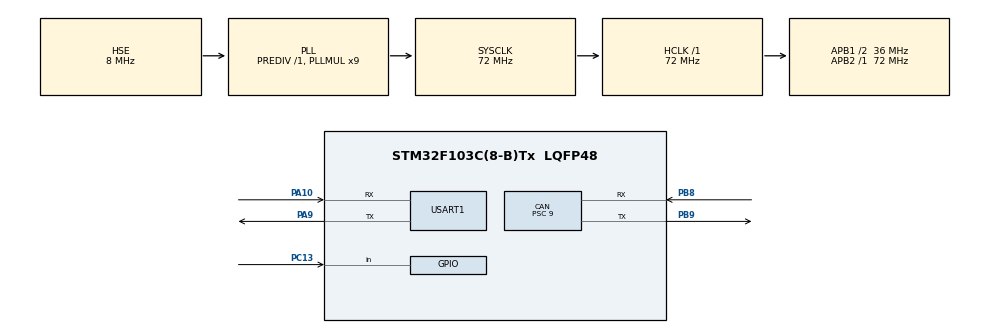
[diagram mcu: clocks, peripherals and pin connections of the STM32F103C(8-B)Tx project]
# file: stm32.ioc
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CAN.ABOM=ENABLE
CAN.AWUM=ENABLE
CAN.BS1=CAN_BS1_6TQ
CAN.CalculateBaudRate=500000
CAN.CalculateTimeBit=2000
CAN.CalculateTimeQuantum=250.0
CAN.NART=DISABLE
CAN.Prescaler=9
CAN.RFLM=ENABLE
CAN.SJW=CAN_SJW_1TQ
CAN.TTCM=ENABLE
CAN.TXFP=ENABLE
FREERTOS.Tasks01=defaultTask,24,128,StartDefaultTask,Default,NULL,Dynamic,NULL,NULL
Mcu.Family=STM32F1
Mcu.Name=STM32F103C(8-B)Tx
Mcu.Package=LQFP48
NVIC.PriorityGroup=NVIC_PRIORITYGROUP_4
NVIC.USART1_IRQn=true\:5\:0\:false\:false\:true\:true\:true\:true\:true
NVIC.USB_LP_CAN1_RX0_IRQn=true\:5\:0\:false\:false\:true\:true\:true\:true\:true
PA10.Mode=Asynchronous
PA10.Signal=USART1_RX
PA9.Mode=Asynchronous
PA9.Signal=USART1_TX
PB8.Mode=CAN_Activate
PB8.Signal=CAN_RX
PB9.Mode=CAN_Activate
PB9.Signal=CAN_TX
PC13-TAMPER-RTC.Signal=GPIO_Input
PC14-OSC32_IN.Mode=LSE-External-Oscillator
PC14-OSC32_IN.Signal=RCC_OSC32_IN
PC15-OSC32_OUT.Mode=LSE-External-Oscillator
PC15-OSC32_OUT.Signal=RCC_OSC32_OUT
PD0-OSC_IN.Mode=HSE-External-Oscillator
PD0-OSC_IN.Signal=RCC_OSC_IN
PD1-OSC_OUT.Mode=HSE-External-Oscillator
PD1-OSC_OUT.Signal=RCC_OSC_OUT
ProjectManager.HeapSize=0x200
ProjectManager.StackSize=0x400
ProjectManager.TargetToolchain=STM32CubeIDE
RCC.AHBFreq_Value=72000000
RCC.APB1CLKDivider=RCC_HCLK_DIV2
RCC.APB1Freq_Value=36000000
RCC.APB1TimFreq_Value=72000000
RCC.APB2Freq_Value=72000000
RCC.APB2TimFreq_Value=72000000
RCC.HCLKFreq_Value=72000000
RCC.PLLMUL=RCC_PLL_MUL9
RCC.PLLSourceVirtual=RCC_PLLSOURCE_HSE
RCC.SYSCLKFreq_VALUE=72000000
RCC.SYSCLKSource=RCC_SYSCLKSOURCE_PLLCLK
RCC.TimSys_Div=SYSTICK_CLKSOURCE_HCLK_DIV8
RCC.USBFreq_Value=48000000
RCC.USBPrescaler=RCC_USBCLKSOURCE_PLL_DIV1_5
USART1.VirtualMode=VM_ASYNC
VP_FREERTOS_VS_CMSIS_V2.Mode=CMSIS_V2
VP_SYS_VS_ND.Mode=No_Debug
board=custom

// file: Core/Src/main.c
/* USER CODE BEGIN Header */
/**
 ******************************************************************************
 * @file           : main.c
 * @brief          : Main program body
 ******************************************************************************
 * @attention
 *
 * Copyright (c) 2024 STMicroelectronics.
 * All rights reserved.
 *
 * This software is licensed under terms that can be found in the LICENSE file
 * in the root directory of this software component.
 * If no LICENSE file comes with this software, it is provided AS-IS.
 *
 ******************************************************************************
 */
/* USER CODE END Header */
#include "main.h"
#include "cmsis_os.h"

CAN_HandleTypeDef hcan;
UART_HandleTypeDef huart1;

/* Definitions for defaultTask */
osThreadId_t defaultTaskHandle;
const osThreadAttr_t defaultTask_attributes = {
  .name = "defaultTask",
  .stack_size = 128 * 4,
  .priority = (osPriority_t) osPriorityNormal,
};
/* USER CODE BEGIN PV */
HAL_StatusTypeDef retVal;
CAN_FilterTypeDef sFilterConfig;
uint8_t UART_RxData[19] = {0,0,0,0,0,0,0,0,0,0,0,0,0,0,0,0,0,0,0}; /* UART Rx Data array */
uint8_t	loopCnt;			/* temp var for for loop */
/* USER CODE END PV */

void SystemClock_Config(void);
static void MX_GPIO_Init(void);
static void MX_CAN_Init(void);
static void MX_USART1_UART_Init(void);
void StartDefaultTask(void *argument);

/* USER CODE BEGIN PFP */
void HAL_CAN_RxFifo0FullCallback(CAN_HandleTypeDef *hcan)
{
	CAN_RxHeaderTypeDef RxHeader;
	uint32_t pRxMailbox = CAN_RX_FIFO0;
	uint8_t CAN_RxData[8] = {0,0,0,0,0,0,0,0}; /* CAN Rx Data array */
	uint8_t UART_TxData[19] = {0,0,0,0,0,0,0,0,0,0,0,0,0,0,0,0,0,0,0}; /* UART Tx Data array */

	/* Receive in CAN */
	retVal = HAL_CAN_GetRxMessage(hcan, pRxMailbox, &RxHeader, CAN_RxData);
	if (retVal == HAL_OK)
	{
		// Ref: https://python-can.readthedocs.io/en/stable/interfaces/serial.html
		// +=============+===============+========================+=========================+=========================+=========+==============+
		// |    Desc     |Start of frame |Timestamp               | DLC                     | Arbitration ID          | Payload | End of frame |
		// +=============+===============+========================+=========================+=========================+=========+==============+
		// |Length (Byte)|1              |4                       | 1                       | 4                       | 8       | 1            |
		// +-------------+---------------+------------------------+-------------------------+-------------------------+---------+--------------+
		// |Data type    |Byte           |Unsigned 4 byte integer | Unsigned 1 byte integer | Unsigned 4 byte integer | Byte    | Byte         |
		// +-------------+---------------+------------------------+-------------------------+-------------------------+---------+--------------+
		// |Byte order   |-              |Big-Endian              | Big-Endian              | Big-Endian              | -       | -            |
		// +-------------+---------------+------------------------+-------------------------+-------------------------+---------+--------------+
		// |Value        |0xAA           |Usually s, ms or µs     | Payload Length in byte  | -                       | -       | 0xBB         |
		// +-------------+---------------+------------------------+-------------------------+-------------------------+---------+--------------+

		/* Start of frame */
		UART_TxData[0] = 0xAA;
		/* Timestamp */
		UART_TxData[1] = (RxHeader.Timestamp & 0xFF000000)>>24;
		UART_TxData[2] = (RxHeader.Timestamp & 0x00FF0000)>>16;
		UART_TxData[3] = (RxHeader.Timestamp & 0x0000FF00)>>8;
		UART_TxData[4] = (RxHeader.Timestamp & 0x000000FF);

		/* DLC */
		UART_TxData[5] = (uint8_t)RxHeader.DLC;
		/* Arbitration ID
		 * StdId or ExtId check done */
		if(RxHeader.IDE == CAN_ID_STD)
		{
			UART_TxData[6] = (RxHeader.StdId & 0xFF000000)>>24;
			UART_TxData[7] = (RxHeader.StdId & 0x00FF0000)>>16;
			UART_TxData[8] = (RxHeader.StdId & 0x0000FF00)>>8;
			UART_TxData[9] = (RxHeader.StdId & 0x000000FF);
		}
		else /* ExtId */
		{
			UART_TxData[6] = (RxHeader.ExtId & 0xFF000000)>>24;
			UART_TxData[7] = (RxHeader.ExtId & 0x00FF0000)>>16;
			UART_TxData[8] = (RxHeader.ExtId & 0x0000FF00)>>8;
			UART_TxData[9] = (RxHeader.ExtId & 0x000000FF);
		}
		/* Payload */
		for(loopCnt=0; loopCnt<8; loopCnt++)
		{
			UART_TxData[10+loopCnt] = CAN_RxData[loopCnt];
		}
		/* End of frame */
		UART_TxData[10+loopCnt] = 0xBB;

		/* Send in UART */
		retVal = HAL_UART_Transmit_IT(&huart1, UART_TxData, 19);
		if (retVal != HAL_OK)
		{
			Error_Handler();
		}
	}
	else
	{
		Error_Handler();
	}
}

void HAL_UART_RxCpltCallback(UART_HandleTypeDef *huart)
{
	CAN_TxHeaderTypeDef TxHeader;
	uint32_t pTxMailbox;
	uint8_t CAN_TxData[8] = {0,0,0,0,0,0,0,0};	/* CAN Tx Data array */

	/* Receive in UART */
	retVal = HAL_UART_Receive_IT(huart, UART_RxData, 19);
	if (retVal == HAL_OK)
	{
		// Ref: https://python-can.readthedocs.io/en/stable/interfaces/serial.html
		// +=============+===============+========================+=========================+=========================+=========+==============+
		// |    Desc     |Start of frame |Timestamp               | DLC                     | Arbitration ID          | Payload | End of frame |
		// +=============+===============+========================+=========================+=========================+=========+==============+
		// |Length (Byte)|1              |4                       | 1                       | 4                       | 8       | 1            |
		// +-------------+---------------+------------------------+-------------------------+-------------------------+---------+--------------+
		// |Data type    |Byte           |Unsigned 4 byte integer | Unsigned 1 byte integer | Unsigned 4 byte integer | Byte    | Byte         |
		// +-------------+---------------+------------------------+-------------------------+-------------------------+---------+--------------+
		// |Byte order   |-              |Big-Endian              | Big-Endian              | Big-Endian              | -       | -            |
		// +-------------+---------------+------------------------+-------------------------+-------------------------+---------+--------------+
		// |Value        |0xAA           |Usually s, ms or µs     | Payload Length in byte  | -                       | -       | 0xBB         |
		// +-------------+---------------+------------------------+-------------------------+-------------------------+---------+--------------+

		/* Start of frame and End of frame checked to process the received data */
		if((UART_RxData[0] == 0xAA) &&
				(UART_RxData[18] == 0xBB))
		{
			/* Timestamp
			 * This param is unused at the moment and thus ignored
			 * UART_RxData[1]
			 * UART_RxData[2]
			 * UART_RxData[3]
			 * UART_RxData[4]  */
			TxHeader.TransmitGlobalTime = DISABLE;
			/* DLC */
			TxHeader.DLC				= UART_RxData[5];
			/* Arbitration ID */
			TxHeader.ExtId				= ((UART_RxData[6] << 24) |\
											(UART_RxData[7] << 16)|\
											 (UART_RxData[8] << 8)|\
											  (UART_RxData[9]));
			/* To decide if it's a ExtId or StdId */
			if(TxHeader.ExtId < 0x800)
			{
				TxHeader.StdId = TxHeader.ExtId;
				TxHeader.ExtId = 0;
				TxHeader.IDE   = CAN_ID_STD;
			}
			else
			{
				TxHeader.StdId = 0;
				/* TxHeader.ExtId holds the same above value */
				TxHeader.IDE   = CAN_ID_EXT;
			}
			/* Payload */
			for(loopCnt=0; loopCnt<8; loopCnt++)
			{
				CAN_TxData[loopCnt] = UART_RxData[10+loopCnt];
			}

			/* Fill the other param needed for CANTx */
			TxHeader.RTR = CAN_RTR_DATA;
			pTxMailbox = CAN_TX_MAILBOX0;

			/* Send in CAN */
			retVal = HAL_CAN_AddTxMessage(&hcan, &TxHeader, CAN_TxData, &pTxMailbox);
			if (retVal != HAL_OK)
			{
				Error_Handler();
			}
		}
		else
		{
			/* do nothing */
		}

	}
	else
	{
		Error_Handler();
	}
}
/* USER CODE END PFP */

int main(void)
{

  /* MCU Configuration--------------------------------------------------------*/

  /* Reset of all peripherals, Initializes the Flash interface and the Systick. */
  HAL_Init();

  /* Configure the system clock */
  SystemClock_Config();

  /* Initialize all configured peripherals */
  MX_GPIO_Init();
  MX_CAN_Init();
  MX_USART1_UART_Init();

  /* Init scheduler */
  osKernelInitialize();

  /* Create the thread(s) */
  /* creation of defaultTask */
  defaultTaskHandle = osThreadNew(StartDefaultTask, NULL, &defaultTask_attributes);

  /* Start scheduler */
  osKernelStart();

  /* We should never get here as control is now taken by the scheduler */

  /* Infinite loop */
  while (1)
  {

  }
}

void SystemClock_Config(void)
{
  RCC_OscInitTypeDef RCC_OscInitStruct = {0};
  RCC_ClkInitTypeDef RCC_ClkInitStruct = {0};

  /** Initializes the RCC Oscillators according to the specified parameters
  * in the RCC_OscInitTypeDef structure.
  */
  RCC_OscInitStruct.OscillatorType = RCC_OSCILLATORTYPE_HSE;
  RCC_OscInitStruct.HSEState = RCC_HSE_ON;
  RCC_OscInitStruct.HSEPredivValue = RCC_HSE_PREDIV_DIV1;
  RCC_OscInitStruct.HSIState = RCC_HSI_ON;
  RCC_OscInitStruct.PLL.PLLState = RCC_PLL_ON;
  RCC_OscInitStruct.PLL.PLLSource = RCC_PLLSOURCE_HSE;
  RCC_OscInitStruct.PLL.PLLMUL = RCC_PLL_MUL9;
  if (HAL_RCC_OscConfig(&RCC_OscInitStruct) != HAL_OK)
  {
    Error_Handler();
  }

  /** Initializes the CPU, AHB and APB buses clocks
  */
  RCC_ClkInitStruct.ClockType = RCC_CLOCKTYPE_HCLK|RCC_CLOCKTYPE_SYSCLK
                              |RCC_CLOCKTYPE_PCLK1|RCC_CLOCKTYPE_PCLK2;
  RCC_ClkInitStruct.SYSCLKSource = RCC_SYSCLKSOURCE_PLLCLK;
  RCC_ClkInitStruct.AHBCLKDivider = RCC_SYSCLK_DIV1;
  RCC_ClkInitStruct.APB1CLKDivider = RCC_HCLK_DIV2;
  RCC_ClkInitStruct.APB2CLKDivider = RCC_HCLK_DIV1;

  if (HAL_RCC_ClockConfig(&RCC_ClkInitStruct, FLASH_LATENCY_2) != HAL_OK)
  {
    Error_Handler();
  }
}

static void MX_CAN_Init(void)
{

  hcan.Instance = CAN1;
  hcan.Init.Prescaler = 9;
  hcan.Init.Mode = CAN_MODE_NORMAL;
  hcan.Init.SyncJumpWidth = CAN_SJW_1TQ;
  hcan.Init.TimeSeg1 = CAN_BS1_6TQ;
  hcan.Init.TimeSeg2 = CAN_BS2_1TQ;
  hcan.Init.TimeTriggeredMode = ENABLE;
  hcan.Init.AutoBusOff = ENABLE;
  hcan.Init.AutoWakeUp = ENABLE;
  hcan.Init.AutoRetransmission = DISABLE;
  hcan.Init.ReceiveFifoLocked = ENABLE;
  hcan.Init.TransmitFifoPriority = ENABLE;
  if (HAL_CAN_Init(&hcan) != HAL_OK)
  {
    Error_Handler();
  }
  /* USER CODE BEGIN CAN_Init 2 */
	sFilterConfig.FilterIdHigh 			= 0;
	sFilterConfig.FilterIdLow 			= 0;
	sFilterConfig.FilterMaskIdHigh 		= 0;
	sFilterConfig.FilterMaskIdLow		= 0;
	sFilterConfig.FilterFIFOAssignment 	= CAN_FILTER_FIFO0;
	sFilterConfig.FilterBank 			= 0;
	sFilterConfig.FilterMode 			= CAN_FILTERMODE_IDMASK;
	sFilterConfig.FilterScale 			= CAN_FILTERSCALE_16BIT;
	sFilterConfig.FilterActivation 		= CAN_FILTER_ENABLE;
	sFilterConfig.SlaveStartFilterBank 	= 0;

	retVal = HAL_CAN_ConfigFilter(&hcan, &sFilterConfig);
	if (retVal != HAL_OK)
	{
		Error_Handler();
	}

	retVal = HAL_CAN_Start(&hcan);
	if (retVal != HAL_OK)
	{
		Error_Handler();
	}

	retVal = HAL_CAN_ActivateNotification(&hcan, CAN_IT_RX_FIFO0_FULL);
	if (retVal != HAL_OK)
	{
		Error_Handler();
	}
  /* USER CODE END CAN_Init 2 */

}

static void MX_USART1_UART_Init(void)
{

  huart1.Instance = USART1;
  huart1.Init.BaudRate = 115200;
  huart1.Init.WordLength = UART_WORDLENGTH_8B;
  huart1.Init.StopBits = UART_STOPBITS_1;
  huart1.Init.Parity = UART_PARITY_NONE;
  huart1.Init.Mode = UART_MODE_TX_RX;
  huart1.Init.HwFlowCtl = UART_HWCONTROL_NONE;
  huart1.Init.OverSampling = UART_OVERSAMPLING_16;
  if (HAL_UART_Init(&huart1) != HAL_OK)
  {
    Error_Handler();
  }
  /* USER CODE BEGIN USART1_Init 2 */
  retVal = HAL_UART_Receive_IT(&huart1, UART_RxData, 19);
  if (retVal != HAL_OK)
  {
    Error_Handler();
  }
  /* USER CODE END USART1_Init 2 */

}

static void MX_GPIO_Init(void)
{
  GPIO_InitTypeDef GPIO_InitStruct = {0};

  /* GPIO Ports Clock Enable */
  __HAL_RCC_GPIOC_CLK_ENABLE();
  __HAL_RCC_GPIOD_CLK_ENABLE();
  __HAL_RCC_GPIOA_CLK_ENABLE();
  __HAL_RCC_GPIOB_CLK_ENABLE();

  /*Configure GPIO pin : PC13 */
  GPIO_InitStruct.Pin = GPIO_PIN_13;
  GPIO_InitStruct.Mode = GPIO_MODE_INPUT;
  GPIO_InitStruct.Pull = GPIO_NOPULL;
  HAL_GPIO_Init(GPIOC, &GPIO_InitStruct);

}

void StartDefaultTask(void *argument)
{
	for(;;)
	{
	}
}

void Error_Handler(void)
{
  /* USER CODE BEGIN Error_Handler_Debug */
	/* User can add his own implementation to report the HAL error return state */
	__disable_irq();
	while (1)
	{
		/* Toggle LED at PIN13 */
		HAL_GPIO_TogglePin(GPIOC, GPIO_PIN_13);
		osDelay(1000);
	}
  /* USER CODE END Error_Handler_Debug */
}
